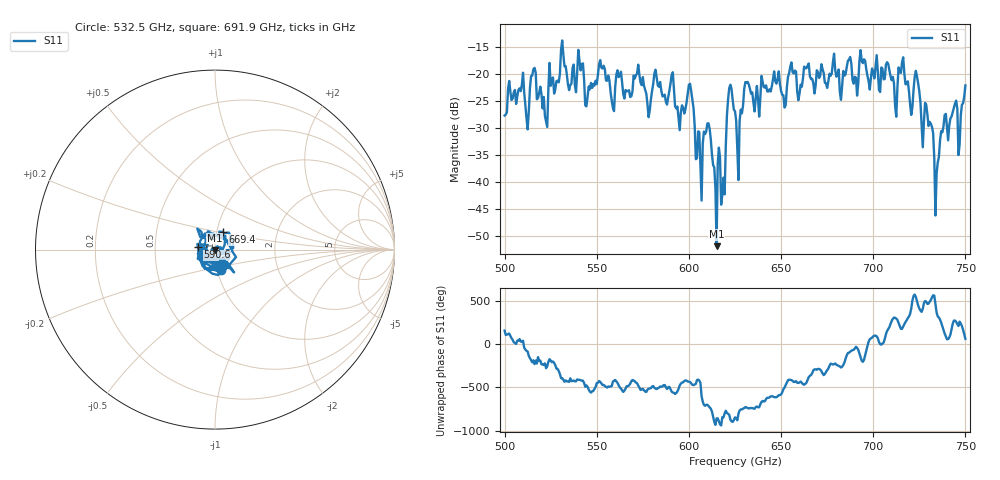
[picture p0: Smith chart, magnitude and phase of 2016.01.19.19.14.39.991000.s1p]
!Created with skrf (http://scikit-rf.org).
# GHz S RI R 50.0
!freq ReS11 ImS11
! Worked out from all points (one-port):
!   401 points, 500 GHz to 750 GHz, reference 50 ohm
!   lowest |S11| = -51.9 dB at 615 GHz (marker M1), VSWR 1.01, Z = 49.8 - j0.166 ohm
!   |S11| at or under -10 dB: start of sweep to end of sweep
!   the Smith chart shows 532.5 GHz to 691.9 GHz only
!   S11 on the Smith chart (normalised r, x): 532.5 GHz: 1.04, -0.24; 590.6 GHz: 0.82, +0.02; 669.4 GHz: 1.07, +0.21; 691.9 GHz: 1.07, -0.16
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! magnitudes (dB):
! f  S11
! 500 GHz  -27.8
! 508.8 GHz  -23.2
! 512.5 GHz  -30.3
! 515.6 GHz  -19.2
! 521.9 GHz  -27.8
! 531.2 GHz  -13.9
! 532.5 GHz  -18.7
! 545 GHz  -24.3
! 562.5 GHz  -20.3
! 590.6 GHz  -20.2
! 593.8 GHz  -26.1
! 600.6 GHz  -21.9
! 605.6 GHz  -30.8
! 610.6 GHz  -29.2
! 615 GHz  -51.9
! 618.8 GHz  -39.2
! 621.9 GHz  -22.7
! 625 GHz  -27.0
! 656.2 GHz  -19.7
! 669.4 GHz  -19.4
! 687.5 GHz  -16.9
! 691.9 GHz  -21.8
! 718.8 GHz  -21.4
! 723.8 GHz  -20.6
! 734.4 GHz  -38.5
! 738.1 GHz  -29.8
! 747.5 GHz  -27.7
! 750 GHz  -22.2
